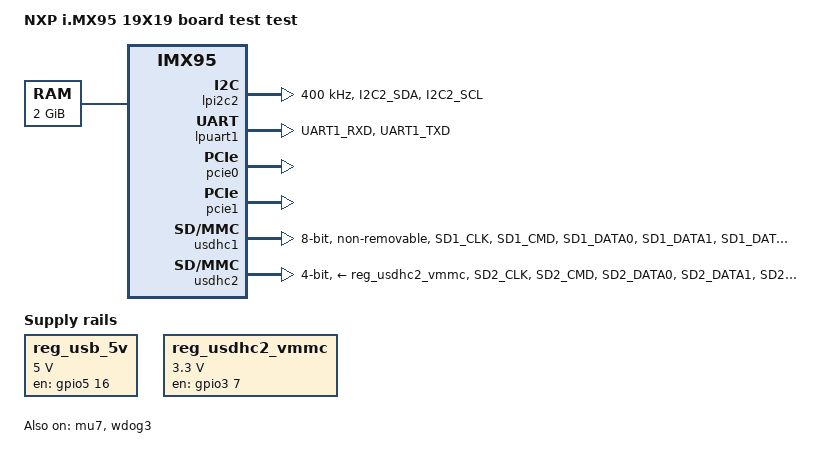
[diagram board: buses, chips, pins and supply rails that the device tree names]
// SPDX-License-Identifier: (GPL-2.0+ OR MIT)
/*
 * Copyright 2024 NXP
 */

/dts-v1/;

#include <dt-bindings/pwm/pwm.h>
#include "imx95.dtsi"

/ {
	model = "NXP i.MX95 19X19 board test test";
	compatible = "fsl,imx95-19x19-evk", "fsl,imx95";

	aliases {
		gpio0 = &gpio1;
		gpio1 = &gpio2;
		gpio2 = &gpio3;
		gpio3 = &gpio4;
		gpio4 = &gpio5;
		i2c1 = &lpi2c2;
		mmc0 = &usdhc1;
		mmc1 = &usdhc2;
		serial0 = &lpuart1;
	};

	chosen {
		stdout-path = &lpuart1;
	};

	memory@80000000 {
		device_type = "memory";
		reg = <0x0 0x80000000 0 0x80000000>;
	};

	reserved-memory {
		#address-cells = <2>;
		#size-cells = <2>;
		ranges;

		linux_cma: linux,cma {
			compatible = "shared-dma-pool";
			alloc-ranges = <0 0x80000000 0 0x7f000000>;
			size = <0 0x3c000000>;
			linux,cma-default;
			reusable;
		};
	};

	reg_usb_5v: regulator-usb-5v-pwr {
		compatible = "regulator-fixed";
		regulator-name = "EN_HOST_USB_5V";
		pinctrl-names = "default";
		pinctrl-0 = <&pinctrl_en_usb_5v>;
		regulator-min-microvolt = <5000000>;
		regulator-max-microvolt = <5000000>;
		gpio = <&gpio5 16 GPIO_ACTIVE_HIGH>;
		enable-active-high;
	};

	reg_usdhc2_vmmc: regulator-usdhc2 {
		compatible = "regulator-fixed";
		pinctrl-names = "default";
		pinctrl-0 = <&pinctrl_reg_usdhc2_vmmc>;
		regulator-name = "VDD_SD2_3V3";
		regulator-min-microvolt = <3300000>;
		regulator-max-microvolt = <3300000>;
		gpio = <&gpio3 7 GPIO_ACTIVE_HIGH>;
		enable-active-high;
		off-on-delay-us = <12000>;
	};
};

&lpi2c2 {
	clock-frequency = <400000>;
	pinctrl-names = "default";
	pinctrl-0 = <&pinctrl_lpi2c2>;
	status = "okay";
};

&lpuart1 {
	/* console */
	pinctrl-names = "default";
	pinctrl-0 = <&pinctrl_uart1>;
	status = "okay";
};

&mu7 {
	status = "okay";
};

&pcie0 {
	status = "okay";
};

&pcie1 {
	status = "okay";
};

&usdhc1 {
	pinctrl-names = "default", "state_100mhz", "state_200mhz", "sleep";
	pinctrl-0 = <&pinctrl_usdhc1>;
	pinctrl-1 = <&pinctrl_usdhc1_100mhz>;
	pinctrl-2 = <&pinctrl_usdhc1_200mhz>;
	pinctrl-3 = <&pinctrl_usdhc1>;
	bus-width = <8>;
	non-removable;
	no-sdio;
	no-sd;
	status = "okay";
};

&usdhc2 {
	pinctrl-names = "default", "state_100mhz", "state_200mhz", "sleep";
	pinctrl-0 = <&pinctrl_usdhc2>, <&pinctrl_usdhc2_gpio>;
	pinctrl-1 = <&pinctrl_usdhc2_100mhz>, <&pinctrl_usdhc2_gpio>;
	pinctrl-2 = <&pinctrl_usdhc2_200mhz>, <&pinctrl_usdhc2_gpio>;
	pinctrl-3 = <&pinctrl_usdhc2>, <&pinctrl_usdhc2_gpio>;
	cd-gpios = <&gpio3 0 GPIO_ACTIVE_LOW>;
	vmmc-supply = <&reg_usdhc2_vmmc>;
	bus-width = <4>;
	status = "okay";
};

&wdog3 {
	fsl,ext-reset-output;
	status = "okay";
};

&scmi_iomuxc {
	pinctrl_emdio: emdiogrp{
		fsl,pins = <
			IMX95_PAD_ENET1_MDC__NETCMIX_TOP_NETC_MDC		0x50e
			IMX95_PAD_ENET1_MDIO__NETCMIX_TOP_NETC_MDIO		0x90e
		>;
	};

	pinctrl_phy: phy1grp {
		fsl,pins = <
			IMX95_PAD_GPIO_IO37__GPIO5_IO_BIT17			0x40E
		>;
	};

	pinctrl_enetc0: enetc0grp {
		fsl,pins = <
			IMX95_PAD_ENET1_TD3__NETCMIX_TOP_ETH0_RGMII_TD3		0x57e
			IMX95_PAD_ENET1_TD2__NETCMIX_TOP_ETH0_RGMII_TD2		0x57e
			IMX95_PAD_ENET1_TD1__NETCMIX_TOP_ETH0_RGMII_TD1		0x57e
			IMX95_PAD_ENET1_TD0__NETCMIX_TOP_ETH0_RGMII_TD0		0x57e
			IMX95_PAD_ENET1_TX_CTL__NETCMIX_TOP_ETH0_RGMII_TX_CTL	0x57e
			IMX95_PAD_ENET1_TXC__NETCMIX_TOP_ETH0_RGMII_TX_CLK	0x57e
			IMX95_PAD_ENET1_RX_CTL__NETCMIX_TOP_ETH0_RGMII_RX_CTL	0x57e
			IMX95_PAD_ENET1_RXC__NETCMIX_TOP_ETH0_RGMII_RX_CLK	0x57e
			IMX95_PAD_ENET1_RD0__NETCMIX_TOP_ETH0_RGMII_RD0		0x57e
			IMX95_PAD_ENET1_RD1__NETCMIX_TOP_ETH0_RGMII_RD1		0x57e
			IMX95_PAD_ENET1_RD2__NETCMIX_TOP_ETH0_RGMII_RD2		0x57e
			IMX95_PAD_ENET1_RD3__NETCMIX_TOP_ETH0_RGMII_RD3		0x57e
		>;
	};

	pinctrl_xspi: xspigrp {
		fsl,pins = <
			IMX95_PAD_XSPI1_SS0_B__XSPI_CS				0x3fe
			IMX95_PAD_XSPI1_SS1_B__GPIO5_IO_BIT11			0x3fe
			IMX95_PAD_XSPI1_SCLK__XSPI_CLK				0x3fe
			IMX95_PAD_XSPI1_DATA0__XSPI_DATA_BIT0			0x3fe
			IMX95_PAD_XSPI1_DATA1__XSPI_DATA_BIT1			0x3fe
			IMX95_PAD_XSPI1_DATA2__XSPI_DATA_BIT2			0x3fe
			IMX95_PAD_XSPI1_DATA3__XSPI_DATA_BIT3			0x3fe
			IMX95_PAD_XSPI1_DATA4__XSPI_DATA_BIT4			0x3fe
			IMX95_PAD_XSPI1_DATA5__XSPI_DATA_BIT5			0x3fe
			IMX95_PAD_XSPI1_DATA6__XSPI_DATA_BIT6			0x3fe
			IMX95_PAD_XSPI1_DATA7__XSPI_DATA_BIT7			0x3fe
			IMX95_PAD_XSPI1_DQS__XSPI_DQS				0x3fe
		>;
	};

	pinctrl_flexspi1: flexspi1grp {
		fsl,pins = <
			IMX95_PAD_SD3_CLK__FLEXSPI1_A_SCLK			0x3fe
			IMX95_PAD_SD3_CMD__FLEXSPI1_A_SS0_B			0x3fe
			IMX95_PAD_SD3_DATA0__FLEXSPI1_A_DATA_BIT0		0x3fe
			IMX95_PAD_SD3_DATA1__FLEXSPI1_A_DATA_BIT1		0x3fe
			IMX95_PAD_SD3_DATA2__FLEXSPI1_A_DATA_BIT2		0x3fe
			IMX95_PAD_SD3_DATA3__FLEXSPI1_A_DATA_BIT3		0x3fe
		>;
	};

	pinctrl_fpga_irqc: fpgairqcgrp {
		fsl,pins = <
			IMX95_PAD_CCM_CLKO3__GPIO4_IO_BIT28			0x31e
		>;
	};

	pinctrl_lpi2c2: lpi2c2grp {
		fsl,pins = <
			IMX95_PAD_I2C2_SDA__AONMIX_TOP_LPI2C2_SDA		0x40000b9e
			IMX95_PAD_I2C2_SCL__AONMIX_TOP_LPI2C2_SCL		0x40000b9e
		>;
	};

	pinctrl_en_usb_5v: usb5vengrp {
		fsl,pins = <
			IMX95_PAD_GPIO_IO36__GPIO5_IO_BIT16			0x31e
		>;
	};

	pinctrl_sai1: sai1grp {
		fsl,pins = <
			IMX95_PAD_SAI1_TXC__AONMIX_TOP_SAI1_TX_BCLK      0x31e
			IMX95_PAD_SAI1_TXFS__AONMIX_TOP_SAI1_TX_SYNC     0x31e
			IMX95_PAD_SAI1_TXD0__AONMIX_TOP_SAI1_TX_DATA_BIT0    0x31e
		>;
	};

	pinctrl_uart1: uart1grp {
		fsl,pins = <
			IMX95_PAD_UART1_RXD__AONMIX_TOP_LPUART1_RX      0x31e
			IMX95_PAD_UART1_TXD__AONMIX_TOP_LPUART1_TX      0x31e
		>;
	};

	pinctrl_usdhc1: usdhc1grp {
		fsl,pins = <
			IMX95_PAD_SD1_CLK__USDHC1_CLK			0x158e
			IMX95_PAD_SD1_CMD__USDHC1_CMD			0x138e
			IMX95_PAD_SD1_DATA0__USDHC1_DATA0		0x138e
			IMX95_PAD_SD1_DATA1__USDHC1_DATA1		0x138e
			IMX95_PAD_SD1_DATA2__USDHC1_DATA2		0x138e
			IMX95_PAD_SD1_DATA3__USDHC1_DATA3		0x138e
			IMX95_PAD_SD1_DATA4__USDHC1_DATA4		0x138e
			IMX95_PAD_SD1_DATA5__USDHC1_DATA5		0x138e
			IMX95_PAD_SD1_DATA6__USDHC1_DATA6		0x138e
			IMX95_PAD_SD1_DATA7__USDHC1_DATA7		0x138e
			IMX95_PAD_SD1_STROBE__USDHC1_STROBE		0x158e
		>;
	};

	pinctrl_usdhc1_100mhz: usdhc1-100mhzgrp {
		fsl,pins = <
			IMX95_PAD_SD1_CLK__USDHC1_CLK			0x158e
			IMX95_PAD_SD1_CMD__USDHC1_CMD			0x138e
			IMX95_PAD_SD1_DATA0__USDHC1_DATA0		0x138e
			IMX95_PAD_SD1_DATA1__USDHC1_DATA1		0x138e
			IMX95_PAD_SD1_DATA2__USDHC1_DATA2		0x138e
			IMX95_PAD_SD1_DATA3__USDHC1_DATA3		0x138e
			IMX95_PAD_SD1_DATA4__USDHC1_DATA4		0x138e
			IMX95_PAD_SD1_DATA5__USDHC1_DATA5		0x138e
			IMX95_PAD_SD1_DATA6__USDHC1_DATA6		0x138e
			IMX95_PAD_SD1_DATA7__USDHC1_DATA7		0x138e
			IMX95_PAD_SD1_STROBE__USDHC1_STROBE		0x158e
		>;
	};

	pinctrl_usdhc1_200mhz: usdhc1-200mhzgrp {
		fsl,pins = <
			IMX95_PAD_SD1_CLK__USDHC1_CLK			0x15fe
			IMX95_PAD_SD1_CMD__USDHC1_CMD			0x13fe
			IMX95_PAD_SD1_DATA0__USDHC1_DATA0		0x13fe
			IMX95_PAD_SD1_DATA1__USDHC1_DATA1		0x13fe
			IMX95_PAD_SD1_DATA2__USDHC1_DATA2		0x13fe
			IMX95_PAD_SD1_DATA3__USDHC1_DATA3		0x13fe
			IMX95_PAD_SD1_DATA4__USDHC1_DATA4		0x13fe
			IMX95_PAD_SD1_DATA5__USDHC1_DATA5		0x13fe
			IMX95_PAD_SD1_DATA6__USDHC1_DATA6		0x13fe
			IMX95_PAD_SD1_DATA7__USDHC1_DATA7		0x13fe
			IMX95_PAD_SD1_STROBE__USDHC1_STROBE		0x15fe
		>;
	};

	pinctrl_reg_usdhc2_vmmc: regusdhc2vmmcgrp {
		fsl,pins = <
			IMX95_PAD_SD2_RESET_B__GPIO3_IO_BIT7		0x31e
		>;
	};

	pinctrl_usdhc2_gpio: usdhc2gpiogrp {
		fsl,pins = <
			IMX95_PAD_SD2_CD_B__GPIO3_IO_BIT0		0x31e
		>;
	};

	pinctrl_usdhc2: usdhc2grp {
		fsl,pins = <
			IMX95_PAD_SD2_CLK__USDHC2_CLK			0x158e
			IMX95_PAD_SD2_CMD__USDHC2_CMD			0x138e
			IMX95_PAD_SD2_DATA0__USDHC2_DATA0		0x138e
			IMX95_PAD_SD2_DATA1__USDHC2_DATA1		0x138e
			IMX95_PAD_SD2_DATA2__USDHC2_DATA2		0x138e
			IMX95_PAD_SD2_DATA3__USDHC2_DATA3		0x138e
			IMX95_PAD_SD2_VSELECT__USDHC2_VSELECT		0x51e
		>;
	};

	pinctrl_usdhc2_100mhz: usdhc2-100mhzgrp {
		fsl,pins = <
			IMX95_PAD_SD2_CLK__USDHC2_CLK			0x158e
			IMX95_PAD_SD2_CMD__USDHC2_CMD			0x138e
			IMX95_PAD_SD2_DATA0__USDHC2_DATA0		0x138e
			IMX95_PAD_SD2_DATA1__USDHC2_DATA1		0x138e
			IMX95_PAD_SD2_DATA2__USDHC2_DATA2		0x138e
			IMX95_PAD_SD2_DATA3__USDHC2_DATA3		0x138e
			IMX95_PAD_SD2_VSELECT__USDHC2_VSELECT		0x51e
		>;
	};

	pinctrl_usdhc2_200mhz: usdhc2-200mhzgrp {
		fsl,pins = <
			IMX95_PAD_SD2_CLK__USDHC2_CLK			0x15fe
			IMX95_PAD_SD2_CMD__USDHC2_CMD			0x13fe
			IMX95_PAD_SD2_DATA0__USDHC2_DATA0		0x13fe
			IMX95_PAD_SD2_DATA1__USDHC2_DATA1		0x13fe
			IMX95_PAD_SD2_DATA2__USDHC2_DATA2		0x13fe
			IMX95_PAD_SD2_DATA3__USDHC2_DATA3		0x13fe
			IMX95_PAD_SD2_VSELECT__USDHC2_VSELECT		0x51e
		>;
	};
};

&thermal_zones {
	a55-thermal {
		trips {
			atrip2: trip2 {
				temperature = <55000>;
				hysteresis = <2000>;
				type = "active";
			};

			atrip3: trip3 {
				temperature = <65000>;
				hysteresis = <2000>;
				type = "active";
			};

			atrip4: trip4 {
				temperature = <75000>;
				hysteresis = <2000>;
				type = "active";
			};
		};

		cooling-maps {
			map1 {
				trip = <&atrip2>;
				//cooling-device = <&fan0 0 1>;
			};

			map2 {
				trip = <&atrip3>;
				//cooling-device = <&fan0 1 2>;
			};

			map3 {
				trip = <&atrip4>;
				//cooling-device = <&fan0 2 3>;
			};
		};
	};
};

